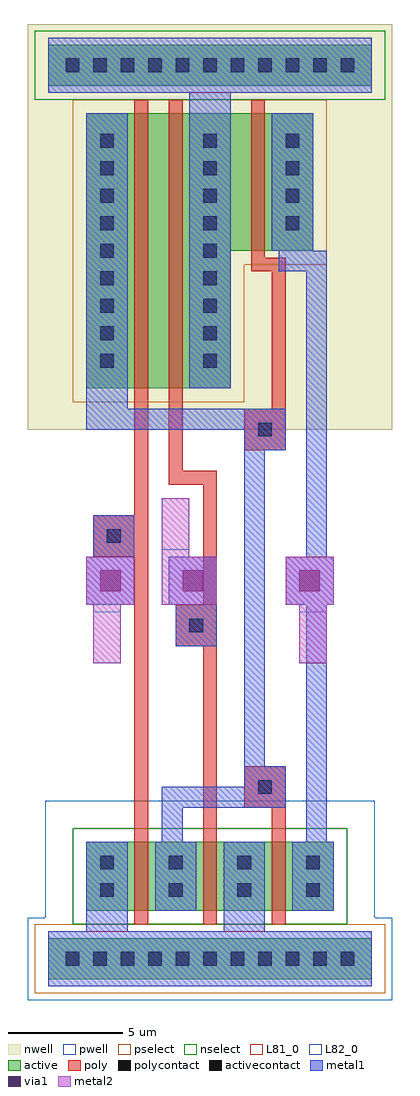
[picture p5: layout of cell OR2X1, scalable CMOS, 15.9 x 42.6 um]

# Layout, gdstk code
import gdstk
lib = gdstk.Library(unit=1e-6, precision=1e-09)
def R(c, l, rs):  # rectangles x0, y0, x1, y1
    for r in rs: c.add(gdstk.rectangle(r[:2], r[2:], *l))
def A(c, l, x, y, w, h, nx, ny, dx, dy):  # array of equal rectangles
    R(c, l, [(x+i*dx, y+j*dy, x+i*dx+w, y+j*dy+h) for i in range(nx) for j in range(ny)])
pwell = (41, 0)
nwell = (42, 0)
active = (43, 0)
pselect = (44, 0)
nselect = (45, 0)
poly = (46, 0)
polycontact = (47, 0)
activecontact = (48, 0)
metal1 = (49, 0)
via1 = (50, 0)
metal2 = (51, 0)
L81_0 = (81, 0)
L82_0 = (82, 0)

or2x1 = lib.new_cell('OR2X1')
R(or2x1, pwell, [(-1.95,-1.8,13.95,1.8), (-1.2,1.8,13.2,6.9)])
R(or2x1, nwell, [(-1.95,23.1,13.95,40.8)])
R(or2x1, active, [(-1.05,-0.9,13.05,0.9), (0.6,2.1,11.4,5.1), (0.6,24.9,6.9,30.9), (0.6,30.9,10.5,36.9), (-1.05,38.1,13.05,39.9)])
R(or2x1, pselect, [(-1.65,-1.5,13.65,1.5), (0,24.3,7.5,30.3), (0,30.3,11.1,37.5)])
R(or2x1, nselect, [(0,1.5,12,5.7), (-1.65,37.5,13.65,40.5)])
R(or2x1, poly, [(2.7,1.5,3.3,17.55), (5.7,1.5,6.3,13.65), (8.7,1.5,9.3,6.6), (7.5,6.6,9.3,8.4), (4.5,13.65,6.3,15.45), (5.7,15.45,6.3,20.7), (0.9,17.55,3.3,19.35), (2.7,19.35,3.3,37.5), (4.2,20.7,6.3,21.3), (4.2,21.3,4.8,37.5), (7.5,22.2,9.3,24), (8.7,24,9.3,30), (7.8,30,9.3,30.6), (7.8,30.6,8.4,37.5)])
R(or2x1, polycontact, [(8.1,7.2,8.7,7.8), (5.1,14.25,5.7,14.85), (1.5,18.15,2.1,18.75), (8.1,22.8,8.7,23.4)])
A(or2x1, activecontact, -0.3, -0.3, 0.6, 0.6, 11, 2, 1.2, 39)
A(or2x1, activecontact, 1.2, 2.7, 0.6, 0.6, 4, 2, 3, 1.2)
A(or2x1, activecontact, 1.2, 25.8, 0.6, 0.6, 1, 9, 0, 1.2)
A(or2x1, activecontact, 5.7, 25.8, 0.6, 0.6, 1, 9, 0, 1.2)
A(or2x1, activecontact, 9.3, 31.8, 0.6, 0.6, 1, 4, 0, 1.2)
R(or2x1, metal1, [(-1.05,-1.2,13.05,1.2), (0.6,1.2,2.4,5.1), (6.6,1.2,8.4,5.1), (3.6,2.1,5.4,5.1), (9.6,2.1,11.4,5.1), (3.9,5.1,4.8,6.6), (10.2,5.1,11.1,15.45), (3.9,6.6,9.3,7.5), (7.5,7.5,9.3,8.4), (7.5,8.4,8.4,22.2), (4.5,13.65,6.3,15.45), (0.6,15.45,2.7,17.55), (4.2,15.45,6.3,17.55), (9.3,15.45,11.4,17.55), (0.9,17.55,2.7,19.35), (10.2,17.55,11.1,30), (7.5,22.2,9.3,23.1), (0.6,23.1,9.3,24), (0.6,24,2.4,36.9), (5.1,24.9,6.9,37.8), (9,30,11.1,30.9), (8.7,30.9,10.5,36.9), (-1.05,37.8,13.05,40.2)])
R(or2x1, via1, [(1.2,16.05,2.1,16.95), (4.8,16.05,5.7,16.95), (9.9,16.05,10.8,16.95)])
R(or2x1, metal2, [(0.9,12.9,2.1,15.45), (9.9,12.9,11.1,15.45), (0.6,15.45,2.7,17.55), (3.9,15.45,6.3,17.55), (9.3,15.45,11.4,17.55), (3.9,17.55,5.1,20.1)])
R(or2x1, L81_0, [(-1.05,-1.2,13.05,1.2), (-1.05,37.8,13.05,40.2)])
R(or2x1, L82_0, [(0.9,12.9,2.1,15.15), (9.9,12.9,11.1,15.15), (3.9,17.85,5.1,20.1)])

lib.write_gds('OR2X1.gds')
